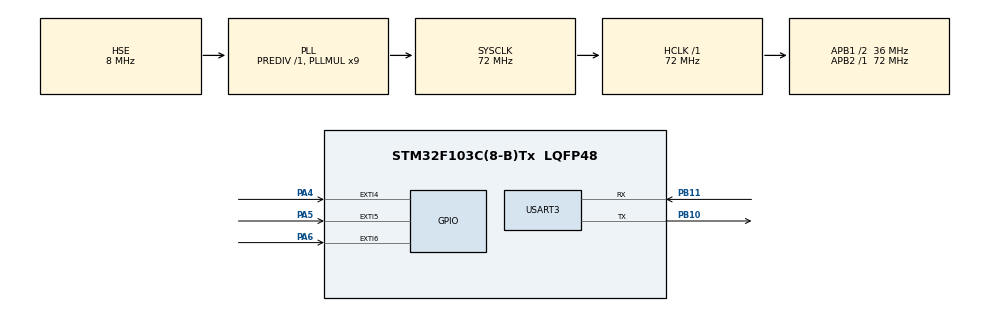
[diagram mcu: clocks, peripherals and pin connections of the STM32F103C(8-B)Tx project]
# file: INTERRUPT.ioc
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Mcu.Family=STM32F1
Mcu.Name=STM32F103C(8-B)Tx
Mcu.Package=LQFP48
NVIC.EXTI4_IRQn=true\:0\:0\:false\:true\:true\:2\:true\:true
NVIC.EXTI9_5_IRQn=true\:0\:0\:false\:true\:true\:1\:true\:true
NVIC.PriorityGroup=NVIC_PRIORITYGROUP_4
PA13.Mode=Serial_Wire
PA13.Signal=SYS_JTMS-SWDIO
PA14.Mode=Serial_Wire
PA14.Signal=SYS_JTCK-SWCLK
PA4.Signal=GPXTI4
PA5.Signal=GPXTI5
PA6.Signal=GPXTI6
PB10.Mode=Asynchronous
PB10.Signal=USART3_TX
PB11.Mode=Asynchronous
PB11.Signal=USART3_RX
PD0-OSC_IN.Mode=HSE-External-Oscillator
PD0-OSC_IN.Signal=RCC_OSC_IN
PD1-OSC_OUT.Mode=HSE-External-Oscillator
PD1-OSC_OUT.Signal=RCC_OSC_OUT
ProjectManager.HeapSize=0x200
ProjectManager.StackSize=0x400
ProjectManager.TargetToolchain=MDK-ARM V5.27
RCC.AHBFreq_Value=72000000
RCC.APB1CLKDivider=RCC_HCLK_DIV2
RCC.APB1Freq_Value=36000000
RCC.APB1TimFreq_Value=72000000
RCC.APB2Freq_Value=72000000
RCC.APB2TimFreq_Value=72000000
RCC.HCLKFreq_Value=72000000
RCC.PLLMUL=RCC_PLL_MUL9
RCC.PLLSourceVirtual=RCC_PLLSOURCE_HSE
RCC.SYSCLKFreq_VALUE=72000000
RCC.SYSCLKSource=RCC_SYSCLKSOURCE_PLLCLK
RCC.USBFreq_Value=72000000
USART3.VirtualMode=VM_ASYNC
board=custom

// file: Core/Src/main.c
/* USER CODE BEGIN Header */
/**
  ******************************************************************************
  * @file           : main.c
  * @brief          : Main program body
  ******************************************************************************
  * @attention
  *
  * <h2><center>&copy; Copyright (c) 2021 STMicroelectronics.
  * All rights reserved.</center></h2>
  *
  * This software component is licensed by ST under BSD 3-Clause license,
  * the "License"; You may not use this file except in compliance with the
  * License. You may obtain a copy of the License at:
  *                        opensource.org/licenses/BSD-3-Clause
  *
  ******************************************************************************
  */
/* USER CODE END Header */
#include "main.h"
#include "usart.h"
#include "gpio.h"

/* USER CODE BEGIN Includes */
#include <stdio.h>
/* USER CODE END Includes */

void SystemClock_Config(void);
static void MX_NVIC_Init(void);
/* USER CODE BEGIN PFP */
/* printf --> huart3 for debugging */
struct __FILE{
  int handle;
  /* Whatever you require here. If the only file you are using is */
  /* standard output using printf() for debugging, no file handling */
  /* is required. */
};

FILE __stdout;

int fputc(int ch, FILE *f){
   HAL_UART_Transmit(&huart3, (uint8_t *)&ch, 1, 0xFFFF);
  return ch;
}

int ferror(FILE *f){
  /* Your implementation of ferror(). */
  return 0;
}
/* USER CODE END PFP */

int main(void)
{

  /* MCU Configuration--------------------------------------------------------*/

  /* Reset of all peripherals, Initializes the Flash interface and the Systick. */
  HAL_Init();

  /* Configure the system clock */
  SystemClock_Config();

  /* Initialize all configured peripherals */
  MX_GPIO_Init();
  MX_USART3_UART_Init();

  /* Initialize interrupts */
  MX_NVIC_Init();

  /* Infinite loop */
  while (1)
  {

  }
}

void SystemClock_Config(void)
{
  RCC_OscInitTypeDef RCC_OscInitStruct = {0};
  RCC_ClkInitTypeDef RCC_ClkInitStruct = {0};

  /** Initializes the RCC Oscillators according to the specified parameters
  * in the RCC_OscInitTypeDef structure.
  */
  RCC_OscInitStruct.OscillatorType = RCC_OSCILLATORTYPE_HSE;
  RCC_OscInitStruct.HSEState = RCC_HSE_ON;
  RCC_OscInitStruct.HSEPredivValue = RCC_HSE_PREDIV_DIV1;
  RCC_OscInitStruct.HSIState = RCC_HSI_ON;
  RCC_OscInitStruct.PLL.PLLState = RCC_PLL_ON;
  RCC_OscInitStruct.PLL.PLLSource = RCC_PLLSOURCE_HSE;
  RCC_OscInitStruct.PLL.PLLMUL = RCC_PLL_MUL9;
  if (HAL_RCC_OscConfig(&RCC_OscInitStruct) != HAL_OK)
  {
    Error_Handler();
  }
  /** Initializes the CPU, AHB and APB buses clocks
  */
  RCC_ClkInitStruct.ClockType = RCC_CLOCKTYPE_HCLK|RCC_CLOCKTYPE_SYSCLK
                              |RCC_CLOCKTYPE_PCLK1|RCC_CLOCKTYPE_PCLK2;
  RCC_ClkInitStruct.SYSCLKSource = RCC_SYSCLKSOURCE_PLLCLK;
  RCC_ClkInitStruct.AHBCLKDivider = RCC_SYSCLK_DIV1;
  RCC_ClkInitStruct.APB1CLKDivider = RCC_HCLK_DIV2;
  RCC_ClkInitStruct.APB2CLKDivider = RCC_HCLK_DIV1;

  if (HAL_RCC_ClockConfig(&RCC_ClkInitStruct, FLASH_LATENCY_2) != HAL_OK)
  {
    Error_Handler();
  }
}

/**
  * @brief NVIC Configuration.
  * @retval None
  */
static void MX_NVIC_Init(void)
{
  /* EXTI9_5_IRQn interrupt configuration */
  HAL_NVIC_SetPriority(EXTI9_5_IRQn, 0, 0);
  HAL_NVIC_EnableIRQ(EXTI9_5_IRQn);
  /* EXTI4_IRQn interrupt configuration */
  HAL_NVIC_SetPriority(EXTI4_IRQn, 0, 0);
  HAL_NVIC_EnableIRQ(EXTI4_IRQn);
}

/* USER CODE BEGIN 4 */
void HAL_GPIO_EXTI_Callback(uint16_t GPIO_Pin)
{
  if(GPIO_Pin == GPIO_PIN_4)
	{
		printf("PIN_4_Hello!\r\n");
	}
	if(GPIO_Pin == GPIO_PIN_5)
	{
		printf("PIN_5_Hello!\r\n");
	}
	if(GPIO_Pin == GPIO_PIN_6)
	{
		printf("PIN_6_Hello!\r\n");
	}
}
/* USER CODE END 4 */

void Error_Handler(void)
{
}

/************************ (C) COPYRIGHT STMicroelectronics *****END OF FILE****/
